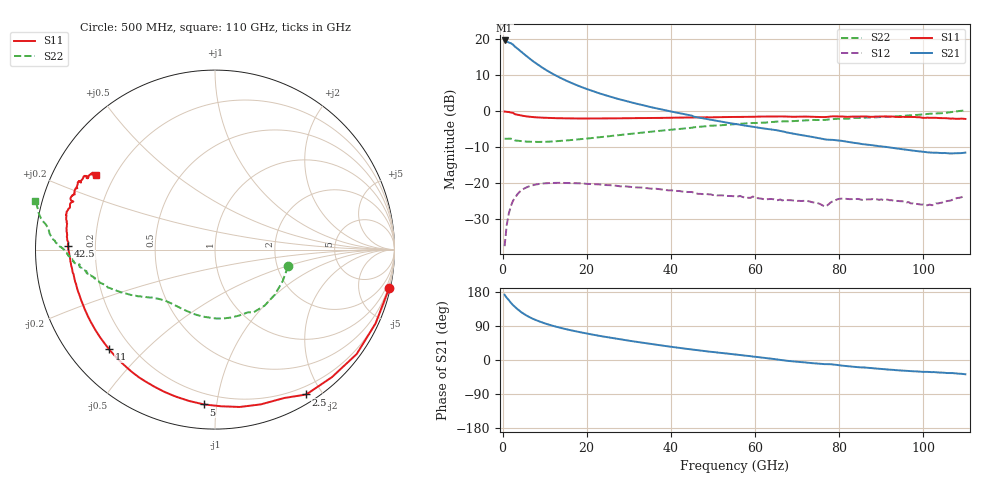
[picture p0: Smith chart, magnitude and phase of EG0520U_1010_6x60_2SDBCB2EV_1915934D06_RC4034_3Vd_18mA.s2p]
!File name = EG0520U_1010_6x60_2SDBCB2EV_1915934D06_RC4034_3Vd_18mA.s2p
!Base file name = EG0520U_1010_6x60_2SDBCB2EV_1915934D06_RC4034
!Date = 8/23/2019
!Time = 12:57 PM
!Test duration(min) = 0.15
!Test = S-Parameters
!MPTS version = 8.91.5
!State File = C:\Data\PNA\20190821205423\S-Parameters_2019-08-23.sta
!Cal File =
!ComputerName = CMPE-LAB-6
!Comments =
!Attenuation = 0
!Z0 = 50
!Input Power(dBm) = -13.00
!Device ID = EG0520U_1010_6x60_2SDBCB2EV
!Row = 40
!Column = 34
!Technology = QPHT09
!Lot/Wafer = 1915934D06
!Gate Size = 360
!Mask = EG0520
!Cal Standards = GaAs BCB
!Cal Kit = EG2306
!Job Number = 20190821205423
!Device Type = FET
!set_Vg(v) = -1.500
!set_Vd(v) = 3.000
!set_Vd(mA) = 18.000
!file_name = EG0520U_1010_6x60_2SDBCB2EV_1915934D06_RC4034_3Vd_18mA.s2p
!Vd(V) = 3.000
!Vd(mA) = 17.802
!Vg(V) = -0.629
!Vg(mA) = -0.005
# GHz  S  DB  R  50
!%	Freq(GHz)  s11(dB)  s11(deg)  s21(dB)  s21(deg)  s12(dB)  s12(deg)  s22(dB)  s22(deg)
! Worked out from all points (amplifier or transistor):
!   220 points, 500 MHz to 110 GHz, reference 50 ohm
!   highest |S21| = 19.7 dB at 500 MHz (marker M1)
!   |S21| within 3 dB of that: start of sweep to 4.318 GHz
!   unconditionally stable (mu >= 1): 38.23 GHz to 102.3 GHz
!   at 18.5 GHz: K = 0.47, MSG = 13.4 dB, |S12| = -20.0 dB
!   at 55.5 GHz: K = 1.37, MAG = 6.4 dB, |S12| = -23.6 dB
!   at 110 GHz: K = -1.62, MSG = 6.0 dB, |S12| = -23.4 dB
!   S11 on the Smith chart (normalised r, x): 500 MHz: 0.27, -9.15; 2.5 GHz: 0.10, -1.81; 5 GHz: 0.13, -0.92; 11 GHz: 0.12, -0.39; 42.5 GHz: 0.10, +0.01; 110 GHz: 0.13, +0.28
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0.5  -0.06 -12.5  19.71 172.2  -37.45 81.6  -7.59 -12.9
1  -0.13 -24.7  19.41 164.3  -31.61 75.1  -7.62 -25.0
2  -0.32 -47.5  18.92 150.8  -26.27 62.0  -7.60 -48.5
2.5  -0.41 -57.8  18.56 144.8  -24.81 56.5  -7.74 -58.3
3  -0.80 -65.0  17.95 139.6  -23.93 52.2  -8.08 -62.4
3.5  -0.92 -73.5  17.51 134.7  -23.08 47.8  -8.15 -70.1
4.5  -1.18 -87.9  16.52 125.9  -21.93 40.1  -8.26 -83.4
5  -1.26 -94.1  16.04 122.2  -21.53 36.9  -8.32 -89.0
6  -1.44 -104.9  15.09 115.5  -20.96 31.5  -8.42 -98.3
7.5  -1.61 -117.5  13.73 107.3  -20.44 25.0  -8.46 -109.0
9  -1.72 -126.9  12.51 100.8  -20.11 20.0  -8.48 -116.1
11  -1.82 -136.7  11.05 93.3  -19.92 14.6  -8.41 -123.5
14.5  -1.92 -148.7  8.90 82.9  -19.87 7.9  -8.14 -131.9
19  -1.97 -158.5  6.66 72.1  -20.03 1.6  -7.66 -138.2
27  -1.94 -169.3  3.61 56.3  -20.64 -5.4  -6.67 -145.2
37  -1.82 -177.7  0.73 39.5  -21.56 -10.0  -5.44 -151.9
42.5  -1.75 178.7  -0.61 31.3  -22.23 -12.1  -4.83 -155.4
55.5  -1.56 171.0  -3.52 14.3  -23.64 -14.1  -3.52 -164.0
73.5  -1.50 161.9  -7.08 -8.2  -25.21 -19.4  -2.38 -172.7
92  -1.46 153.3  -10.02 -25.4  -24.68 -27.4  -1.45 179.7
102  -1.80 150.3  -11.49 -32.0  -26.05 -26.1  -0.64 173.8
110  -2.10 147.9  -11.46 -37.6  -23.40 -25.6  0.33 164.8
